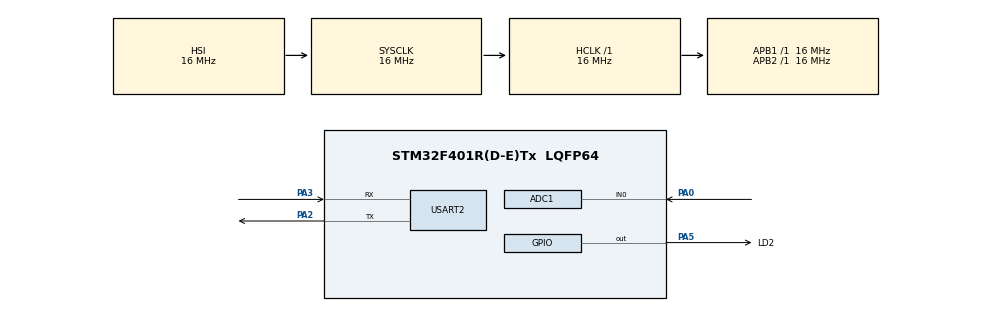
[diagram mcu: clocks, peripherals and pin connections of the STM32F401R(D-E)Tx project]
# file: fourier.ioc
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ADC1.Channel-1\#ChannelRegularConversion=ADC_CHANNEL_0
ADC1.ClockPrescaler=ADC_CLOCK_SYNC_PCLK_DIV2
ADC1.ContinuousConvMode=DISABLE
ADC1.DMAContinuousRequests=ENABLE
ADC1.ExternalTrigConv=ADC_EXTERNALTRIGCONV_T3_TRGO
ADC1.NbrOfConversionFlag=1
ADC1.Rank-1\#ChannelRegularConversion=1
ADC1.Resolution=ADC_RESOLUTION_12B
ADC1.SamplingTime-1\#ChannelRegularConversion=ADC_SAMPLETIME_3CYCLES
ADC1.master=1
Dma.ADC1.0.Direction=DMA_PERIPH_TO_MEMORY
Dma.ADC1.0.FIFOMode=DMA_FIFOMODE_DISABLE
Dma.ADC1.0.Instance=DMA2_Stream0
Dma.ADC1.0.MemDataAlignment=DMA_MDATAALIGN_HALFWORD
Dma.ADC1.0.MemInc=DMA_MINC_ENABLE
Dma.ADC1.0.Mode=DMA_CIRCULAR
Dma.ADC1.0.PeriphDataAlignment=DMA_PDATAALIGN_HALFWORD
Dma.ADC1.0.PeriphInc=DMA_PINC_DISABLE
Dma.ADC1.0.Priority=DMA_PRIORITY_LOW
Dma.Request0=ADC1
Mcu.Family=STM32F4
Mcu.Name=STM32F401R(D-E)Tx
Mcu.Package=LQFP64
NVIC.DMA2_Stream0_IRQn=true\:0\:0\:false\:false\:true\:false\:true\:true
NVIC.PriorityGroup=NVIC_PRIORITYGROUP_4
NVIC.USART2_IRQn=true\:0\:0\:false\:false\:true\:true\:true\:true
PA0-WKUP.Signal=ADCx_IN0
PA2.Mode=Asynchronous
PA2.Signal=USART2_TX
PA3.Mode=Asynchronous
PA3.Signal=USART2_RX
PA5.GPIO_Label=LD2
PA5.Signal=GPIO_Output
ProjectManager.HeapSize=0x200
ProjectManager.StackSize=0x400
ProjectManager.TargetToolchain=STM32CubeIDE
RCC.AHBFreq_Value=16000000
RCC.APB1Freq_Value=16000000
RCC.APB2Freq_Value=16000000
RCC.CortexFreq_Value=16000000
RCC.HSE_VALUE=25000000
RCC.HSI_VALUE=16000000
RCC.LSE_VALUE=32768
RCC.SYSCLKFreq_VALUE=16000000
RCC.VCOOutputFreq_Value=192000000
SH.ADCx_IN0.0=ADC1_IN0,IN0
TIM3.Period=1600
TIM3.TIM_MasterOutputTrigger=TIM_TRGO_UPDATE
USART2.VirtualMode=VM_ASYNC
VP_TIM3_VS_ClockSourceINT.Mode=Internal
board=custom

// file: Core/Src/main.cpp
/* USER CODE BEGIN Header */
/**
  ******************************************************************************
  * @file           : main.c
  * @brief          : Main program body
  ******************************************************************************
  * @attention
  *
  * Copyright (c) 2023 STMicroelectronics.
  * All rights reserved.
  *
  * This software is licensed under terms that can be found in the LICENSE file
  * in the root directory of this software component.
  * If no LICENSE file comes with this software, it is provided AS-IS.
  *
  ******************************************************************************
  */
/* USER CODE END Header */
#include "main.h"
#include "circular_buffer.h"
#define MI_IMPLEMENT;
#include "receiver.hpp"
#include "fft.hpp"
#include "sender.hpp"
#include <cstring>
#include <cstdio>
#include <span>

/* USER CODE BEGIN PTD */

enum struct fft_eval_state_t
{
	idle,
	eval_first_half,
	eval_second_half
};

/* USER CODE END PTD */

UART_HandleTypeDef huart2;
ADC_HandleTypeDef hadc1;
DMA_HandleTypeDef hdma_adc1;
TIM_HandleTypeDef htim3;

/* USER CODE BEGIN PV */
mi::rx_circular_buffer<2000> rx_circ_buf{huart2};
mi::tx_circular_buffer<6000> tx_circ_buf{huart2};
void send_callback(uint8_t byte)
{
	tx_circ_buf.push(byte);
}
mi::Receiver<100> receiver;
mi::Sender<6000> sender{send_callback};
std::array<uint16_t, 1024> adc_buffer;
fft_eval_state_t fft_eval_state = fft_eval_state_t::idle;
uint32_t timeout_counter = 0;

/* USER CODE END PV */

void SystemClock_Config(void);
static void MX_GPIO_Init(void);
static void MX_DMA_Init(void);
static void MX_USART2_UART_Init(void);
static void MX_ADC1_Init(void);
static void MX_TIM3_Init(void);
/* USER CODE BEGIN PFP */

void reception(void);
void fourier(void);

/* USER CODE END PFP */

int main(void)
{

  /* MCU Configuration--------------------------------------------------------*/

  /* Reset of all peripherals, Initializes the Flash interface and the Systick. */
  HAL_Init();

  /* Configure the system clock */
  SystemClock_Config();

  /* Initialize all configured peripherals */
  MX_GPIO_Init();
  MX_DMA_Init();
  MX_USART2_UART_Init();
  MX_ADC1_Init();
  MX_TIM3_Init();
  /* USER CODE BEGIN 2 */
  HAL_ADC_Start_DMA(&hadc1, reinterpret_cast<uint32_t*>(adc_buffer.data()), adc_buffer.size());
  HAL_TIM_PWM_Start(&htim3, TIM_CHANNEL_1);
  rx_circ_buf.start_reception();

  /* USER CODE END 2 */

  /* Infinite loop */
  /* USER CODE BEGIN WHILE */
  while (1)
  {
	reception();
	if (timeout_counter == 0) continue;
	HAL_GPIO_TogglePin(LD2_GPIO_Port, LD2_Pin);

	fourier();

    /* USER CODE END WHILE */

  }
}

void SystemClock_Config(void)
{
  RCC_OscInitTypeDef RCC_OscInitStruct = {0};
  RCC_ClkInitTypeDef RCC_ClkInitStruct = {0};

  /** Configure the main internal regulator output voltage
  */
  __HAL_RCC_PWR_CLK_ENABLE();
  __HAL_PWR_VOLTAGESCALING_CONFIG(PWR_REGULATOR_VOLTAGE_SCALE2);

  /** Initializes the RCC Oscillators according to the specified parameters
  * in the RCC_OscInitTypeDef structure.
  */
  RCC_OscInitStruct.OscillatorType = RCC_OSCILLATORTYPE_HSI;
  RCC_OscInitStruct.HSIState = RCC_HSI_ON;
  RCC_OscInitStruct.HSICalibrationValue = RCC_HSICALIBRATION_DEFAULT;
  RCC_OscInitStruct.PLL.PLLState = RCC_PLL_NONE;
  if (HAL_RCC_OscConfig(&RCC_OscInitStruct) != HAL_OK)
  {
    Error_Handler();
  }

  /** Initializes the CPU, AHB and APB buses clocks
  */
  RCC_ClkInitStruct.ClockType = RCC_CLOCKTYPE_HCLK|RCC_CLOCKTYPE_SYSCLK
                              |RCC_CLOCKTYPE_PCLK1|RCC_CLOCKTYPE_PCLK2;
  RCC_ClkInitStruct.SYSCLKSource = RCC_SYSCLKSOURCE_HSI;
  RCC_ClkInitStruct.AHBCLKDivider = RCC_SYSCLK_DIV1;
  RCC_ClkInitStruct.APB1CLKDivider = RCC_HCLK_DIV1;
  RCC_ClkInitStruct.APB2CLKDivider = RCC_HCLK_DIV1;

  if (HAL_RCC_ClockConfig(&RCC_ClkInitStruct, FLASH_LATENCY_0) != HAL_OK)
  {
    Error_Handler();
  }
}

static void MX_ADC1_Init(void)
{

  ADC_ChannelConfTypeDef sConfig = {0};

  /** Configure the global features of the ADC (Clock, Resolution, Data Alignment and number of conversion)
  */
  hadc1.Instance = ADC1;
  hadc1.Init.ClockPrescaler = ADC_CLOCK_SYNC_PCLK_DIV2;
  hadc1.Init.Resolution = ADC_RESOLUTION_12B;
  hadc1.Init.ScanConvMode = DISABLE;
  hadc1.Init.ContinuousConvMode = DISABLE;
  hadc1.Init.DiscontinuousConvMode = DISABLE;
  hadc1.Init.ExternalTrigConvEdge = ADC_EXTERNALTRIGCONVEDGE_RISING;
  hadc1.Init.ExternalTrigConv = ADC_EXTERNALTRIGCONV_T3_TRGO;
  hadc1.Init.DataAlign = ADC_DATAALIGN_RIGHT;
  hadc1.Init.NbrOfConversion = 1;
  hadc1.Init.DMAContinuousRequests = ENABLE;
  hadc1.Init.EOCSelection = ADC_EOC_SINGLE_CONV;
  if (HAL_ADC_Init(&hadc1) != HAL_OK)
  {
    Error_Handler();
  }

  /** Configure for the selected ADC regular channel its corresponding rank in the sequencer and its sample time.
  */
  sConfig.Channel = ADC_CHANNEL_0;
  sConfig.Rank = 1;
  sConfig.SamplingTime = ADC_SAMPLETIME_3CYCLES;
  if (HAL_ADC_ConfigChannel(&hadc1, &sConfig) != HAL_OK)
  {
    Error_Handler();
  }

}

static void MX_TIM3_Init(void)
{

  TIM_ClockConfigTypeDef sClockSourceConfig = {0};
  TIM_MasterConfigTypeDef sMasterConfig = {0};

  htim3.Instance = TIM3;
  htim3.Init.Prescaler = 0;
  htim3.Init.CounterMode = TIM_COUNTERMODE_UP;
  htim3.Init.Period = 1600;
  htim3.Init.ClockDivision = TIM_CLOCKDIVISION_DIV1;
  htim3.Init.AutoReloadPreload = TIM_AUTORELOAD_PRELOAD_DISABLE;
  if (HAL_TIM_Base_Init(&htim3) != HAL_OK)
  {
    Error_Handler();
  }
  sClockSourceConfig.ClockSource = TIM_CLOCKSOURCE_INTERNAL;
  if (HAL_TIM_ConfigClockSource(&htim3, &sClockSourceConfig) != HAL_OK)
  {
    Error_Handler();
  }
  sMasterConfig.MasterOutputTrigger = TIM_TRGO_UPDATE;
  sMasterConfig.MasterSlaveMode = TIM_MASTERSLAVEMODE_DISABLE;
  if (HAL_TIMEx_MasterConfigSynchronization(&htim3, &sMasterConfig) != HAL_OK)
  {
    Error_Handler();
  }

}

static void MX_USART2_UART_Init(void)
{

  huart2.Instance = USART2;
  huart2.Init.BaudRate = 115200;
  huart2.Init.WordLength = UART_WORDLENGTH_8B;
  huart2.Init.StopBits = UART_STOPBITS_1;
  huart2.Init.Parity = UART_PARITY_NONE;
  huart2.Init.Mode = UART_MODE_TX_RX;
  huart2.Init.HwFlowCtl = UART_HWCONTROL_NONE;
  huart2.Init.OverSampling = UART_OVERSAMPLING_16;
  if (HAL_UART_Init(&huart2) != HAL_OK)
  {
    Error_Handler();
  }

}

static void MX_DMA_Init(void)
{

  /* DMA controller clock enable */
  __HAL_RCC_DMA2_CLK_ENABLE();

  /* DMA interrupt init */
  /* DMA2_Stream0_IRQn interrupt configuration */
  HAL_NVIC_SetPriority(DMA2_Stream0_IRQn, 0, 0);
  HAL_NVIC_EnableIRQ(DMA2_Stream0_IRQn);

}

static void MX_GPIO_Init(void)
{
  GPIO_InitTypeDef GPIO_InitStruct = {0};

  /* GPIO Ports Clock Enable */
  __HAL_RCC_GPIOA_CLK_ENABLE();

  /*Configure GPIO pin Output Level */
  HAL_GPIO_WritePin(LD2_GPIO_Port, LD2_Pin, GPIO_PIN_RESET);

  /*Configure GPIO pin : LD2_Pin */
  GPIO_InitStruct.Pin = LD2_Pin;
  GPIO_InitStruct.Mode = GPIO_MODE_OUTPUT_PP;
  GPIO_InitStruct.Pull = GPIO_NOPULL;
  GPIO_InitStruct.Speed = GPIO_SPEED_FREQ_LOW;
  HAL_GPIO_Init(LD2_GPIO_Port, &GPIO_InitStruct);

}

/* USER CODE BEGIN 4 */

void HAL_UART_TxCpltCallback(UART_HandleTypeDef *huart)
{
	tx_circ_buf.transmit(*huart);
}

void HAL_UART_RxCpltCallback(UART_HandleTypeDef *huart)
{
	rx_circ_buf.receive(*huart);
}

void HAL_ADC_ConvHalfCpltCallback(ADC_HandleTypeDef* hadc)
{
	if (hadc != &hadc1) return;
	fft_eval_state = fft_eval_state_t::eval_first_half;
}

void HAL_ADC_ConvCpltCallback(ADC_HandleTypeDef* hadc)
{
	if (hadc != &hadc1) return;
	fft_eval_state = fft_eval_state_t::eval_second_half;
}

void reception(void)
{
	while (!rx_circ_buf.is_empty())
	{
		receiver.put(rx_circ_buf.pop());
		if (!receiver.ready()) return;

		mi::Message message;
		auto error = receiver.collect(/*out*/message);

		if (!error.has_value())
		{
			std::visit(mi::OverloadSet{
				[](const mi::Heartbeat&) { timeout_counter = 3000; /* 3s */},
				[](const auto&) {},
			}, message);
		}
		else
		{
			tx_circ_buf.push(static_cast<uint8_t>(*error));
			tx_circ_buf.start_transmission();
		}
	}
}

void fourier(void)
{
	constexpr auto sampling_hz = 10'000.F;
	constexpr auto on_half = 2;
	constexpr float dt = static_cast<float>(adc_buffer.size() / on_half) / sampling_hz;

	if (fft_eval_state == fft_eval_state_t::idle) return;
	fft_eval_state = fft_eval_state_t::idle;

	std::span<const uint16_t, adc_buffer.size() / 2> eval_data{
		adc_buffer.begin() + (fft_eval_state == fft_eval_state_t::eval_second_half ? adc_buffer.size() / 2 : 0),
		adc_buffer.size() / 2,
	};

	auto fft_result = mi::fft(eval_data, dt);
	if (!fft_result.has_value()) return;

	mi::FourierData result{fft_result.value()};
	[[maybe_unused]] auto error = sender.send(result);
	tx_circ_buf.start_transmission();
}

/* USER CODE END 4 */

void Error_Handler(void)
{
  __disable_irq();
  while (1)
  {
  }
}
